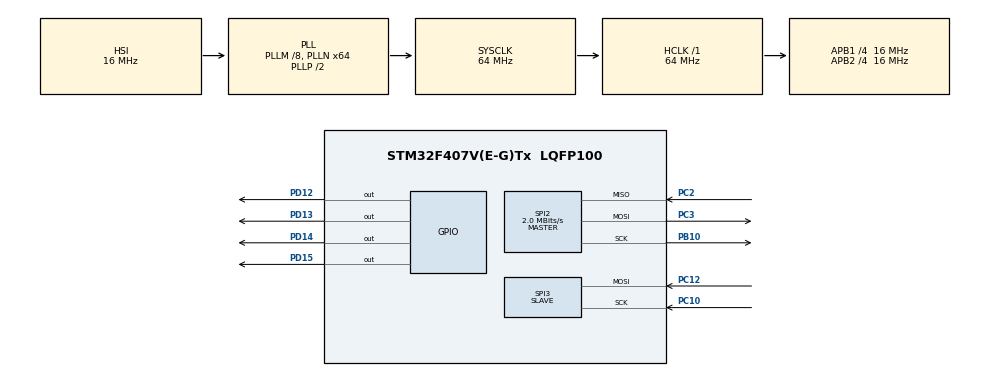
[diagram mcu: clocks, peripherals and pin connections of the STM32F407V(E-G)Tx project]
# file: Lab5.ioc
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Mcu.Family=STM32F4
Mcu.Name=STM32F407V(E-G)Tx
Mcu.Package=LQFP100
NVIC.PriorityGroup=NVIC_PRIORITYGROUP_0
NVIC.SPI3_IRQn=true\:0\:0\:false\:false\:true\:true\:true\:true
NVIC.TIM3_IRQn=true\:0\:0\:false\:false\:true\:true\:true\:true
PA13.Mode=Trace_Asynchronous_SW
PA13.Signal=SYS_JTMS-SWDIO
PA14.Mode=Trace_Asynchronous_SW
PA14.Signal=SYS_JTCK-SWCLK
PA5.Signal=SPI1_SCK
PA6.Signal=SPI1_MISO
PA7.Signal=SPI1_MOSI
PB10.Mode=Full_Duplex_Master
PB10.Signal=SPI2_SCK
PB3.Mode=Trace_Asynchronous_SW
PB3.Signal=SYS_JTDO-SWO
PC10.Mode=RX_Only_Simplex_Unidirect_Slave
PC10.Signal=SPI3_SCK
PC11.Signal=SPI3_MISO
PC12.Mode=RX_Only_Simplex_Unidirect_Slave
PC12.Signal=SPI3_MOSI
PC2.Mode=Full_Duplex_Master
PC2.Signal=SPI2_MISO
PC3.Mode=Full_Duplex_Master
PC3.Signal=SPI2_MOSI
PD12.Signal=GPIO_Output
PD13.Signal=GPIO_Output
PD14.Signal=GPIO_Output
PD15.Signal=GPIO_Output
ProjectManager.HeapSize=0x200
ProjectManager.StackSize=0x400
ProjectManager.TargetToolchain=STM32CubeIDE
RCC.48MHZClocksFreq_Value=18285714.285714287
RCC.AHBFreq_Value=64000000
RCC.APB1CLKDivider=RCC_HCLK_DIV4
RCC.APB1Freq_Value=16000000
RCC.APB1TimFreq_Value=32000000
RCC.APB2CLKDivider=RCC_HCLK_DIV4
RCC.APB2Freq_Value=16000000
RCC.APB2TimFreq_Value=32000000
RCC.CortexFreq_Value=64000000
RCC.HCLKFreq_Value=64000000
RCC.HSE_VALUE=8000000
RCC.HSI_VALUE=16000000
RCC.PLLM=8
RCC.PLLN=64
RCC.PLLQ=7
RCC.SYSCLKFreq_VALUE=64000000
RCC.SYSCLKSource=RCC_SYSCLKSOURCE_PLLCLK
RCC.VCOOutputFreq_Value=128000000
SPI2.BaudRatePrescaler=SPI_BAUDRATEPRESCALER_8
SPI2.CalculateBaudRate=2.0 MBits/s
SPI2.Direction=SPI_DIRECTION_2LINES
SPI2.Mode=SPI_MODE_MASTER
SPI2.VirtualType=VM_MASTER
SPI3.Direction=SPI_DIRECTION_2LINES_RXONLY
SPI3.Mode=SPI_MODE_SLAVE
SPI3.VirtualType=VM_SLAVE
TIM3.Period=2000-1
TIM3.Prescaler=16000-1
VP_TIM3_VS_ClockSourceINT.Mode=Internal
board=STM32F407G-DISC1

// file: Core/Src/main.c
/* USER CODE BEGIN Header */
/**
  ******************************************************************************
  * @file           : main.c
  * @brief          : Main program body
  ******************************************************************************
  * @attention
  *
  * Copyright (c) 2024 STMicroelectronics.
  * All rights reserved.
  *
  * This software is licensed under terms that can be found in the LICENSE file
  * in the root directory of this software component.
  * If no LICENSE file comes with this software, it is provided AS-IS.
  *
  ******************************************************************************
  */
/* USER CODE END Header */
#include "main.h"

SPI_HandleTypeDef hspi2;
SPI_HandleTypeDef hspi3;

TIM_HandleTypeDef htim3;

/* USER CODE BEGIN PV */
int uzdNr = 2;
uint8_t txData1[4] = {1, 3, 11, 15};
uint8_t txData2[4] = {15, 14, 13, 12};
uint8_t rxData2;
uint8_t rxData[4];
/* USER CODE END PV */

void SystemClock_Config(void);
static void MX_GPIO_Init(void);
static void MX_SPI2_Init(void);
static void MX_SPI3_Init(void);
static void MX_TIM3_Init(void);

int main(void)
{

  /* MCU Configuration--------------------------------------------------------*/

  /* Reset of all peripherals, Initializes the Flash interface and the Systick. */
  HAL_Init();

  /* Configure the system clock */
  SystemClock_Config();

  /* Initialize all configured peripherals */
  MX_GPIO_Init();
  MX_SPI2_Init();
  MX_SPI3_Init();
  MX_TIM3_Init();
  /* USER CODE BEGIN 2 */
  HAL_TIM_Base_Start_IT(&htim3);

  if(uzdNr == 2){
	  HAL_SPI_Receive_IT(&hspi3, &rxData2, 1);
  	}
  /* USER CODE END 2 */

  /* Infinite loop */
  while (1)
  {

    /* USER CODE BEGIN 3 */
	if(uzdNr == 1){
		HAL_SPI_TransmitReceive(&hspi2, txData1, rxData, 4, 5000);
	}
  }
  /* USER CODE END 3 */
}

void SystemClock_Config(void)
{
  RCC_OscInitTypeDef RCC_OscInitStruct = {0};
  RCC_ClkInitTypeDef RCC_ClkInitStruct = {0};

  /** Configure the main internal regulator output voltage
  */
  __HAL_RCC_PWR_CLK_ENABLE();
  __HAL_PWR_VOLTAGESCALING_CONFIG(PWR_REGULATOR_VOLTAGE_SCALE1);

  /** Initializes the RCC Oscillators according to the specified parameters
  * in the RCC_OscInitTypeDef structure.
  */
  RCC_OscInitStruct.OscillatorType = RCC_OSCILLATORTYPE_HSI;
  RCC_OscInitStruct.HSIState = RCC_HSI_ON;
  RCC_OscInitStruct.HSICalibrationValue = RCC_HSICALIBRATION_DEFAULT;
  RCC_OscInitStruct.PLL.PLLState = RCC_PLL_ON;
  RCC_OscInitStruct.PLL.PLLSource = RCC_PLLSOURCE_HSI;
  RCC_OscInitStruct.PLL.PLLM = 8;
  RCC_OscInitStruct.PLL.PLLN = 64;
  RCC_OscInitStruct.PLL.PLLP = RCC_PLLP_DIV2;
  RCC_OscInitStruct.PLL.PLLQ = 7;
  if (HAL_RCC_OscConfig(&RCC_OscInitStruct) != HAL_OK)
  {
    Error_Handler();
  }

  /** Initializes the CPU, AHB and APB buses clocks
  */
  RCC_ClkInitStruct.ClockType = RCC_CLOCKTYPE_HCLK|RCC_CLOCKTYPE_SYSCLK
                              |RCC_CLOCKTYPE_PCLK1|RCC_CLOCKTYPE_PCLK2;
  RCC_ClkInitStruct.SYSCLKSource = RCC_SYSCLKSOURCE_PLLCLK;
  RCC_ClkInitStruct.AHBCLKDivider = RCC_SYSCLK_DIV1;
  RCC_ClkInitStruct.APB1CLKDivider = RCC_HCLK_DIV4;
  RCC_ClkInitStruct.APB2CLKDivider = RCC_HCLK_DIV4;

  if (HAL_RCC_ClockConfig(&RCC_ClkInitStruct, FLASH_LATENCY_2) != HAL_OK)
  {
    Error_Handler();
  }
}

static void MX_SPI2_Init(void)
{

  /* SPI2 parameter configuration*/
  hspi2.Instance = SPI2;
  hspi2.Init.Mode = SPI_MODE_MASTER;
  hspi2.Init.Direction = SPI_DIRECTION_2LINES;
  hspi2.Init.DataSize = SPI_DATASIZE_8BIT;
  hspi2.Init.CLKPolarity = SPI_POLARITY_LOW;
  hspi2.Init.CLKPhase = SPI_PHASE_1EDGE;
  hspi2.Init.NSS = SPI_NSS_SOFT;
  hspi2.Init.BaudRatePrescaler = SPI_BAUDRATEPRESCALER_8;
  hspi2.Init.FirstBit = SPI_FIRSTBIT_MSB;
  hspi2.Init.TIMode = SPI_TIMODE_DISABLE;
  hspi2.Init.CRCCalculation = SPI_CRCCALCULATION_DISABLE;
  hspi2.Init.CRCPolynomial = 10;
  if (HAL_SPI_Init(&hspi2) != HAL_OK)
  {
    Error_Handler();
  }

}

static void MX_SPI3_Init(void)
{

  /* SPI3 parameter configuration*/
  hspi3.Instance = SPI3;
  hspi3.Init.Mode = SPI_MODE_SLAVE;
  hspi3.Init.Direction = SPI_DIRECTION_2LINES_RXONLY;
  hspi3.Init.DataSize = SPI_DATASIZE_8BIT;
  hspi3.Init.CLKPolarity = SPI_POLARITY_LOW;
  hspi3.Init.CLKPhase = SPI_PHASE_1EDGE;
  hspi3.Init.NSS = SPI_NSS_SOFT;
  hspi3.Init.FirstBit = SPI_FIRSTBIT_MSB;
  hspi3.Init.TIMode = SPI_TIMODE_DISABLE;
  hspi3.Init.CRCCalculation = SPI_CRCCALCULATION_DISABLE;
  hspi3.Init.CRCPolynomial = 10;
  if (HAL_SPI_Init(&hspi3) != HAL_OK)
  {
    Error_Handler();
  }

}

static void MX_TIM3_Init(void)
{

  TIM_ClockConfigTypeDef sClockSourceConfig = {0};
  TIM_MasterConfigTypeDef sMasterConfig = {0};

  htim3.Instance = TIM3;
  htim3.Init.Prescaler = 16000-1;
  htim3.Init.CounterMode = TIM_COUNTERMODE_UP;
  htim3.Init.Period = 2000-1;
  htim3.Init.ClockDivision = TIM_CLOCKDIVISION_DIV1;
  htim3.Init.AutoReloadPreload = TIM_AUTORELOAD_PRELOAD_DISABLE;
  if (HAL_TIM_Base_Init(&htim3) != HAL_OK)
  {
    Error_Handler();
  }
  sClockSourceConfig.ClockSource = TIM_CLOCKSOURCE_INTERNAL;
  if (HAL_TIM_ConfigClockSource(&htim3, &sClockSourceConfig) != HAL_OK)
  {
    Error_Handler();
  }
  sMasterConfig.MasterOutputTrigger = TIM_TRGO_RESET;
  sMasterConfig.MasterSlaveMode = TIM_MASTERSLAVEMODE_DISABLE;
  if (HAL_TIMEx_MasterConfigSynchronization(&htim3, &sMasterConfig) != HAL_OK)
  {
    Error_Handler();
  }

}

static void MX_GPIO_Init(void)
{
  GPIO_InitTypeDef GPIO_InitStruct = {0};

  /* GPIO Ports Clock Enable */
  __HAL_RCC_GPIOC_CLK_ENABLE();
  __HAL_RCC_GPIOA_CLK_ENABLE();
  __HAL_RCC_GPIOB_CLK_ENABLE();
  __HAL_RCC_GPIOD_CLK_ENABLE();

  /*Configure GPIO pin Output Level */
  HAL_GPIO_WritePin(GPIOD, GPIO_PIN_12|GPIO_PIN_13|GPIO_PIN_14|GPIO_PIN_15, GPIO_PIN_RESET);

  /*Configure GPIO pins : PA5 PA6 PA7 */
  GPIO_InitStruct.Pin = GPIO_PIN_5|GPIO_PIN_6|GPIO_PIN_7;
  GPIO_InitStruct.Mode = GPIO_MODE_AF_PP;
  GPIO_InitStruct.Pull = GPIO_NOPULL;
  GPIO_InitStruct.Speed = GPIO_SPEED_FREQ_VERY_HIGH;
  GPIO_InitStruct.Alternate = GPIO_AF5_SPI1;
  HAL_GPIO_Init(GPIOA, &GPIO_InitStruct);

  /*Configure GPIO pins : PD12 PD13 PD14 PD15 */
  GPIO_InitStruct.Pin = GPIO_PIN_12|GPIO_PIN_13|GPIO_PIN_14|GPIO_PIN_15;
  GPIO_InitStruct.Mode = GPIO_MODE_OUTPUT_PP;
  GPIO_InitStruct.Pull = GPIO_NOPULL;
  GPIO_InitStruct.Speed = GPIO_SPEED_FREQ_LOW;
  HAL_GPIO_Init(GPIOD, &GPIO_InitStruct);

}

/* USER CODE BEGIN 4 */

void HAL_TIM_PeriodElapsedCallback(TIM_HandleTypeDef *htim) {
  if (htim->Instance == TIM3) {
	  if(uzdNr == 2){

	  }

  }
}
void HAL_SPI_RxCpltCallback(SPI_HandleTypeDef *hspi) {
//  if (hspi->Instance == SPI3) {
    // Here, rxData has the received byte
    // Do something with rxData, like updating LEDs

	  HAL_GPIO_TogglePin(GPIOD, GPIO_PIN_14);

    // Prepare for the next byte

//  }
}
/* USER CODE END 4 */

void Error_Handler(void)
{
  __disable_irq();
  while (1)
  {
  }
}
